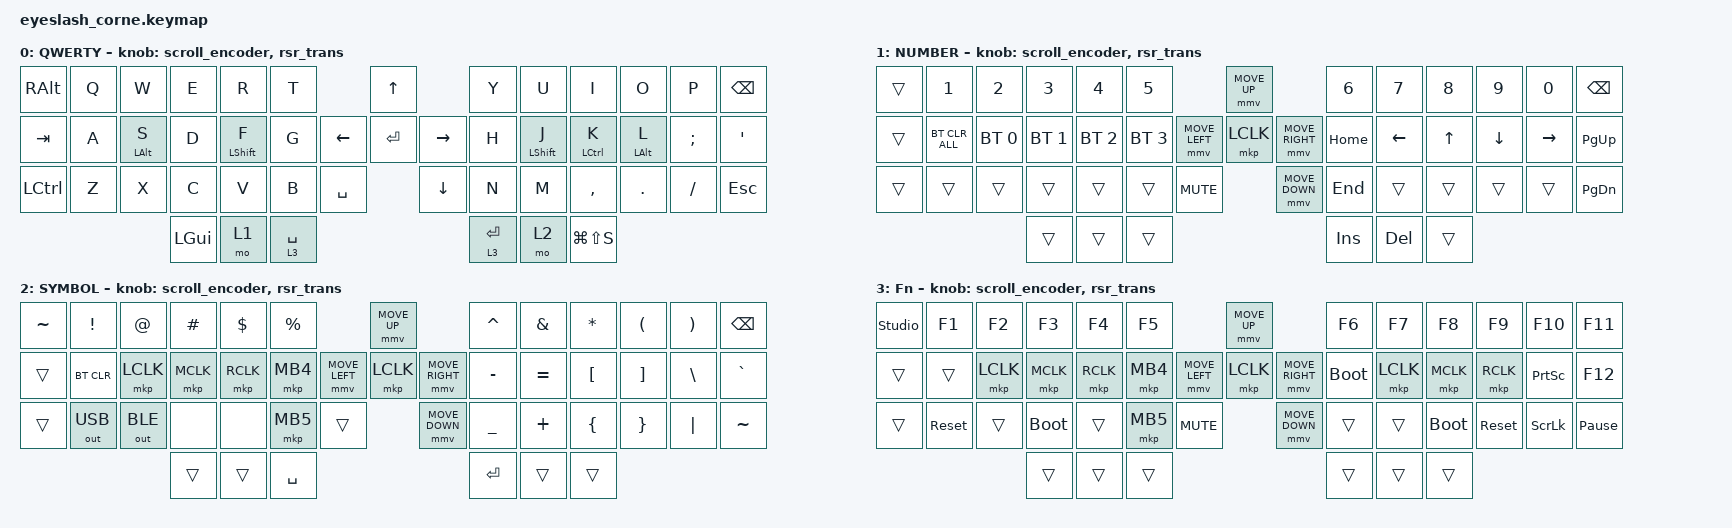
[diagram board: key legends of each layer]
#define ZMK_POINTING_DEFAULT_MOVE_VAL 1200  // 600
#define ZMK_POINTING_DEFAULT_SCRL_VAL 25   // 10

#include <input/processors.dtsi>
#include <zephyr/dt-bindings/input/input-event-codes.h>
#include <behaviors.dtsi>
#include <dt-bindings/zmk/bt.h>
#include <dt-bindings/zmk/ext_power.h>
#include <dt-bindings/zmk/keys.h>
#include <dt-bindings/zmk/pointing.h>
#include <dt-bindings/zmk/outputs.h>
#include <dt-bindings/zmk/rgb.h>
#include <behaviors/runtime-sensor-rotate.dtsi>

&mmv_input_listener { input-processors = <&zip_xy_scaler 2 1>; };

&msc_input_listener { input-processors = <&zip_scroll_scaler 2 1>; };

&msc {
    acceleration-exponent = <1>;      // 0
    time-to-max-speed-ms = <100>;       // 300
    delay-ms = <0>;                   // 0
};

&mmv {
    time-to-max-speed-ms = <500>;
    acceleration-exponent = <1>;
    trigger-period-ms = <16>;
};


/ {
    behaviors {
        td0: td0 {
            compatible = "zmk,behavior-tap-dance";
            display-name = "Shift/Caps Lock Tap Dance";
            #binding-cells = <0>;
            bindings = <&kp LEFT_SHIFT>, <&kp CAPS>;
        };

        hm: homerow_mods {
            compatible = "zmk,behavior-hold-tap";
            #binding-cells = <2>;
            flavor = "tap-preferred";
            tapping-term-ms = <200>;
            quick-tap-ms = <175>;
            require-prior-idle-ms = <160>;
            bindings = <&kp>, <&kp>;
        };

        rsr_scroll: rsr_scroll {
            compatible = "zmk,behavior-runtime-sensor-rotate";
            #sensor-binding-cells = <0>;
            tap-ms = <5>;
            cw-binding = <&msc SCRL_DOWN>;
            ccw-binding = <&msc SCRL_UP>;
        };

        rsr_trans: rsr_trans {
            compatible = "zmk,behavior-runtime-sensor-rotate";
            #sensor-binding-cells = <0>;
            tap-ms = <0>;
        };
    };

    combos {
        compatible = "zmk,combos";

        combo_yu {
            timeout-ms = <40>;
            key-positions = <36 37>;
            bindings = <&kp B>;
            layers = <0>;
        };
    };


    rgb_encoder: rgb_encoder {
        compatible = "zmk,behavior-sensor-rotate";
        #sensor-binding-cells = <0>;
        bindings = <&rgb_ug RGB_BRI>, <&rgb_ug RGB_BRD>;
    };

    scroll_encoder: scroll_encoder {
        compatible = "zmk,behavior-sensor-rotate";
        #sensor-binding-cells = <0>;
        bindings = <&msc SCRL_DOWN>, <&msc SCRL_UP>;
        tap-ms = <100>;
    };

    keymap {
        compatible = "zmk,keymap";

        default_layer {
            display-name = "QWERTY";
            bindings = <
&kp RALT   &kp Q       &kp W       &kp E        &kp R        &kp T                 &kp UP                          &kp Y  &kp U        &kp I        &kp O       &kp P          &kp BSPC
&kp TAB    &kp A  &hm LALT S  &kp D  &hm LSHFT F  &kp G       &kp LEFT  &kp ENTER  &kp RIGHT  &kp H  &hm LSHFT J  &hm LCTRL K  &hm LALT L  &kp SEMI  &kp SQT
&kp LCTRL  &kp Z  &kp X      &kp C     &kp V  &kp B       &kp SPACE              &kp DOWN              &kp N        &kp M  &kp COMMA  &kp DOT  &kp FSLH  &kp ESC
                             &kp LGUI  &mo 1  &lt 3 SPACE                                              &lt 3 ENTER  &mo 2  &kp LG(LS(S))
            >;
             sensor-bindings = <&scroll_encoder &rsr_trans>;
        };

        lower_layer {
            display-name = "NUMBER";
            bindings = <
&trans  &kp N1           &kp N2          &kp N3        &kp N4        &kp N5                                        &mmv MOVE_UP                     &kp N6           &kp N7           &kp N8           &kp N9           &kp N0    &kp BSPC
&trans  &bt BT_CLR_ALL   &bt BT_SEL 0    &bt BT_SEL 1  &bt BT_SEL 2  &bt BT_SEL 3                           &mmv MOVE_LEFT  &mkp LCLK       &mmv MOVE_RIGHT  &kp HOME         &kp LEFT       &kp UP         &kp DOWN         &kp RIGHT  &kp PG_UP
&trans  &trans  &trans  &trans        &trans        &trans &kp C_MUTE                    &mmv MOVE_DOWN                   &kp END  &trans  &trans  &trans  &trans   &kp PG_DN
                                         &trans        &trans        &trans                                                                         &kp INS          &kp DEL          &trans
            >;
            sensor-bindings = <&scroll_encoder &rsr_trans>;
        };

        raise_layer {
            display-name = "SYMBOL";
            bindings = <
&kp TILDE  &kp EXCL      &kp AT        &kp HASH   &kp DLLR   &kp PRCNT                           &mmv MOVE_UP                     &kp CARET  &kp AMPS   &kp ASTRK  &kp LPAR  &kp RPAR  &kp BSPC
&trans  &bt BT_CLR    &mkp LCLK     &mkp MCLK  &mkp RCLK  &mkp MB4            &mmv MOVE_LEFT  &mkp LCLK       &mmv MOVE_RIGHT  &kp MINUS  &kp EQUAL  &kp LBKT   &kp RBKT  &kp BSLH  &kp GRAVE
&trans  &out OUT_USB  &out OUT_BLE  &none      &none      &mkp MB5  &trans                    &mmv MOVE_DOWN                   &kp UNDER  &kp PLUS   &kp LBRC   &kp RBRC  &kp PIPE  &kp TILDE
                                    &trans     &trans     &kp SPACE                                                            &kp RET    &trans     &trans
            >;
            sensor-bindings = <&scroll_encoder &rsr_trans>;
        };

        layer_3 {
            display-name = "Fn";
            bindings = <
&studio_unlock   &kp F1      &kp F2      &kp F3       &kp F4     &kp F5                                  &mmv MOVE_UP                     &kp F6       &kp F7     &kp F8       &kp F9      &kp F10          &kp F11
&trans  &trans      &mkp LCLK   &mkp MCLK    &mkp RCLK  &mkp MB4                &mmv MOVE_LEFT  &mkp LCLK       &mmv MOVE_RIGHT  &bootloader  &mkp LCLK  &mkp MCLK    &mkp RCLK   &kp PRINTSCREEN  &kp F12
&trans  &sys_reset  &trans      &bootloader  &trans     &mkp MB5  &kp C_MUTE                    &mmv MOVE_DOWN                   &trans       &trans     &bootloader  &sys_reset  &kp SCROLLLOCK   &kp PAUSE_BREAK
                                &trans      &trans      &trans                                                                   &trans       &trans     &trans
            >;
            sensor-bindings = <&scroll_encoder &rsr_trans>;
        };
    };
};
